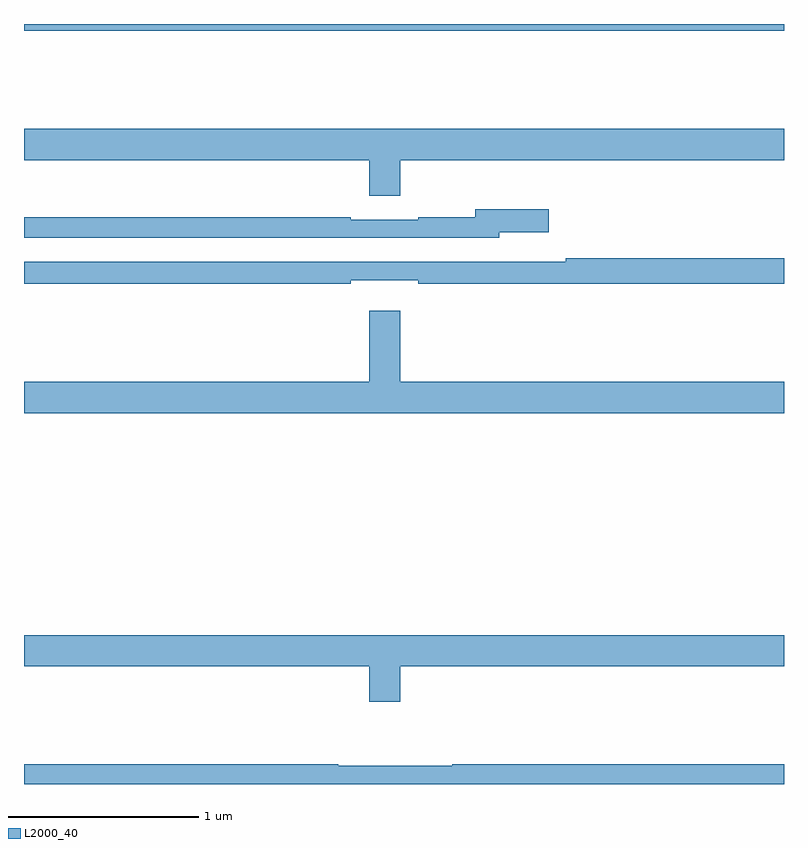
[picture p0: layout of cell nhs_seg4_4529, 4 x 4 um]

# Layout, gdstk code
import gdstk
lib = gdstk.Library(unit=1e-6, precision=1e-09)
def R(c, l, rs):  # rectangles x0, y0, x1, y1
    for r in rs: c.add(gdstk.rectangle(r[:2], r[2:], *l))
def P(c, l, *ps):  # polygons
    for p in ps: c.add(gdstk.Polygon(p, *l))
L2000_40 = (2000, 40)

nhs_seg4_4529 = lib.new_cell('nhs_seg4_4529')
R(nhs_seg4_4529, L2000_40, [(355,766.864,359,766.9)])
P(nhs_seg4_4529, L2000_40, [(356.98,766.184),(359,766.184),(359,766.348),(355,766.348),(355,766.184),(356.816,766.184),(356.816,765.996),(356.98,765.996)],
  [(357.502,765.803),(357.763,765.803),(357.763,765.925),(357.374,765.925),(357.374,765.883),(357.076,765.883),(357.076,765.87),(356.72,765.87),(356.72,765.883),(355,765.883),(355,765.774),(357.502,765.774)],
  [(356.72,765.551),(357.076,765.551),(357.076,765.532),(359,765.532),(359,765.668),(357.85,765.668),(357.85,765.649),(357.598,765.649),(357.598,765.648),(355,765.648),(355,765.532),(356.72,765.532)],
  [(359,765.016),(356.98,765.016),(356.98,765.391),(356.816,765.391),(356.816,765.016),(355,765.016),(355,764.852),(359,764.852)],
  [(355,763.52),(356.816,763.52),(356.816,763.332),(356.98,763.332),(356.98,763.52),(359,763.52),(359,763.684),(355,763.684)],
  [(359,763.004),(357.255,763.004),(357.255,762.997),(356.655,762.997),(356.655,763.004),(355,763.004),(355,762.9),(359,762.9)])

lib.write_gds('nhs_seg4_4529.gds')
